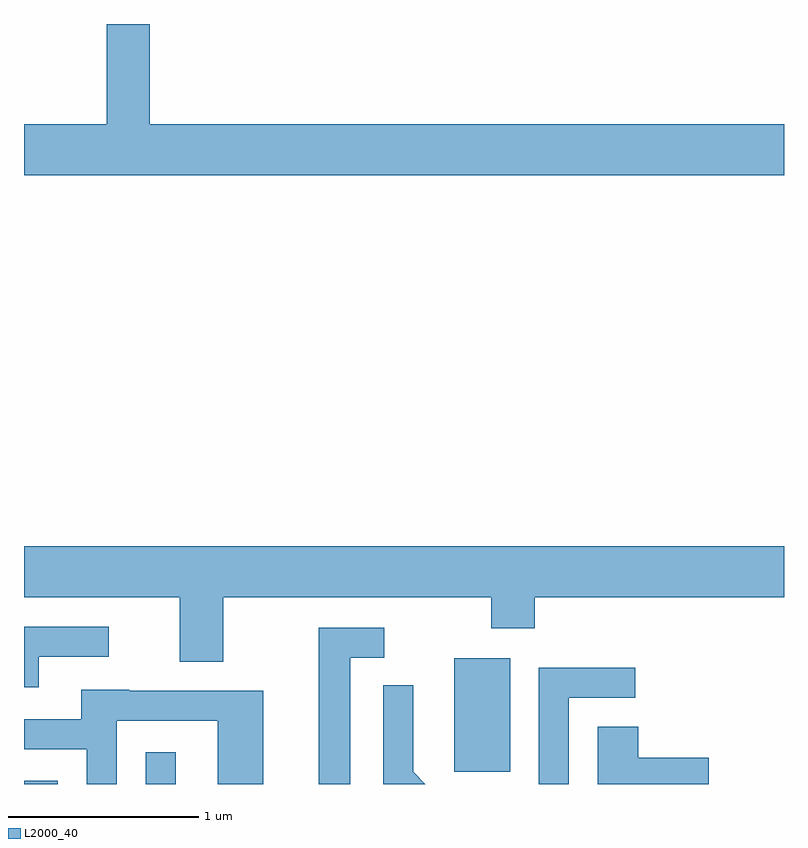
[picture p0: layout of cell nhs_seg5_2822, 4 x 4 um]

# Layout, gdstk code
import gdstk
lib = gdstk.Library(unit=1e-6, precision=1e-09)
def R(c, l, rs):  # rectangles x0, y0, x1, y1
    for r in rs: c.add(gdstk.rectangle(r[:2], r[2:], *l))
def P(c, l, *ps):  # polygons
    for p in ps: c.add(gdstk.Polygon(p, *l))
L2000_40 = (2000, 40)

nhs_seg5_2822 = lib.new_cell('nhs_seg5_2822')
R(nhs_seg5_2822, L2000_40, [(269.611,1418.072,269.789,1418.089), (270.251,1418.072,270.409,1418.238), (271.876,1418.136,272.169,1418.734)])
P(nhs_seg5_2822, L2000_40, [(273.611,1421.544),(270.274,1421.544),(270.274,1422.072),(270.046,1422.072),(270.046,1421.544),(269.611,1421.544),(269.611,1421.276),(273.611,1421.276)],
  [(270.659,1419.056),(272.071,1419.056),(272.071,1418.891),(272.299,1418.891),(272.299,1419.056),(273.611,1419.056),(273.611,1419.324),(269.611,1419.324),(269.611,1419.056),(270.431,1419.056),(270.431,1418.716),(270.659,1418.716)],
  [(269.689,1418.741),(270.058,1418.741),(270.058,1418.899),(269.611,1418.899),(269.611,1418.581),(269.689,1418.581)],
  [(271.329,1418.736),(271.508,1418.736),(271.508,1418.894),(271.161,1418.894),(271.161,1418.072),(271.329,1418.072)],
  [(272.479,1418.526),(272.828,1418.526),(272.828,1418.684),(272.321,1418.684),(272.321,1418.072),(272.479,1418.072)],
  [(271.659,1418.137),(271.659,1418.593),(271.501,1418.593),(271.501,1418.072),(271.724,1418.072)],
  [(270.099,1418.406),(270.631,1418.406),(270.631,1418.072),(270.869,1418.072),(270.869,1418.564),(270.165,1418.564),(270.165,1418.569),(269.911,1418.569),(269.911,1418.414),(269.611,1418.414),(269.611,1418.256),(269.941,1418.256),(269.941,1418.072),(270.099,1418.072)],
  [(273.214,1418.209),(272.844,1418.209),(272.844,1418.374),(272.631,1418.374),(272.631,1418.072),(273.214,1418.072)])

lib.write_gds('nhs_seg5_2822.gds')
